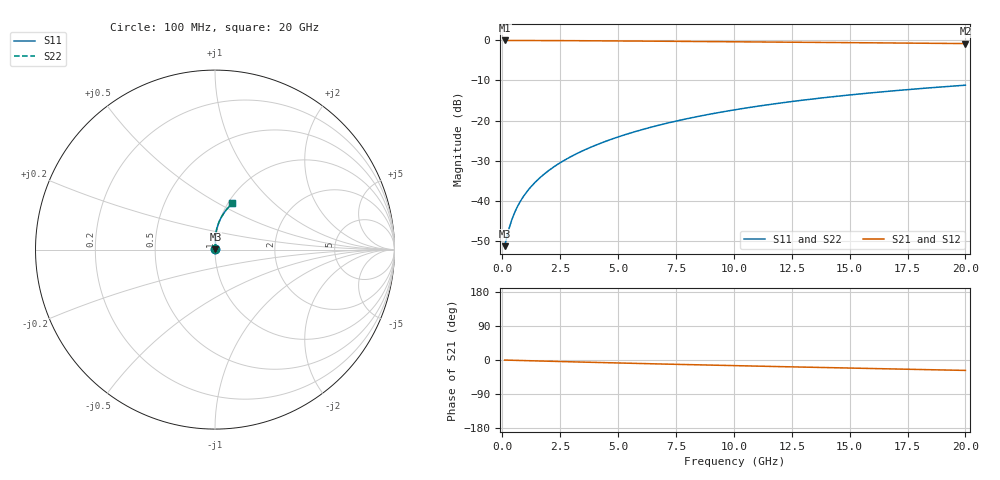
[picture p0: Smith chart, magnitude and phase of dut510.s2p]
! Touchstone file exported from HFSS 2024.1.0
!  File:  C:/UserFiles/LocalFiles/RDL_TSV_Batchsim/temp_RDL_bottom_510_1779687641.aedt
!  Generated:  01:43:21 PM May 25, 2026
!  Design:  RDL_bottom
!  Project:  temp_RDL_bottom_510_1779687641
!  Setup:  Setup1
!  Solution:  Sweep
! Variables:
!  dtsv = 10.80580581um
!  hbump = 3um
!  htsv = 66.38um
!  ldown = 352.66um
!  lrdl = 100um
!  p = 40
!  p1 = 54.29um
!  rhole = 1um
!  t = 450um
!  tdown = 2.39um
!  trdl = 3.915915916um
!  wdown = 25.7um
!  wrdl = 20um
# GHz S MA R 50.000000
! Terminal data exported
! Port[1] = RDL1_T1
! Port[2] = RDL1_T2
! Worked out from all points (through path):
!   200 points, 100 MHz to 20 GHz, reference 50 ohm
!   highest |S21| = -0.02 dB at 100 MHz (marker M1); lowest = -0.8 dB at 20 GHz (marker M2)
!   group delay of S21, straight-line fit = 3.77 ps
!   lowest |S11| = -51.3 dB at 100 MHz (marker M3), VSWR 1.01, Z = 50.2 + j0.131 ohm
!   |S11| at or under -10 dB: start of sweep to end of sweep
!   |S22| runs from -51.3 to -11.2 dB; largest |S21 - S12| = 4.3e-15
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0.1  0.002722 28.6  0.9976 -0.2  0.9976 -0.2  0.002722 28.6
! Gamma 0 0 0 0
! Port Impedance 50 0 50 0
0.3  0.004594 56.4  0.9974 -0.5  0.9974 -0.5  0.004594 56.4
0.4  0.005679 62.4  0.9972 -0.7  0.9972 -0.7  0.005679 62.4
0.5  0.006776 66.4  0.9971 -0.8  0.9971 -0.8  0.006776 66.4
0.6  0.007875 69.3  0.9969 -1.0  0.9969 -1.0  0.007875 69.3
0.8  0.01008 73.5  0.9967 -1.3  0.9967 -1.3  0.01008 73.5
1.1  0.01341 77.6  0.9962 -1.8  0.9962 -1.8  0.01341 77.6
1.3  0.01567 79.5  0.9959 -2.1  0.9959 -2.1  0.01567 79.5
1.6  0.01911 81.6  0.9953 -2.6  0.9953 -2.6  0.01911 81.6
2.1  0.02499 84.1  0.9942 -3.4  0.9942 -3.4  0.02499 84.1
2.7  0.03228 85.9  0.9926 -4.4  0.9926 -4.4  0.03228 85.9
3.5  0.0424 87.3  0.99 -5.6  0.99 -5.6  0.0424 87.2
4.2  0.05162 87.8  0.9874 -6.7  0.9874 -6.7  0.05162 87.8
5  0.06253 88.0  0.9842 -7.9  0.9842 -7.9  0.06253 88.0
5.9  0.07522 87.7  0.9802 -9.2  0.9802 -9.2  0.07522 87.7
6.8  0.08823 87.1  0.9761 -10.5  0.9761 -10.5  0.08823 87.1
8.4  0.1119 85.5  0.9686 -12.7  0.9686 -12.7  0.1119 85.5
10.1  0.1373 83.4  0.9605 -15.0  0.9605 -15.0  0.1373 83.4
11.7  0.161 81.1  0.9529 -17.1  0.9529 -17.1  0.161 81.1
13.4  0.1859 78.7  0.9447 -19.3  0.9447 -19.3  0.1859 78.7
16.7  0.2325 73.9  0.9286 -23.4  0.9286 -23.4  0.2324 73.9
20  0.2762 69.3  0.9122 -27.5  0.9122 -27.5  0.2762 69.3
